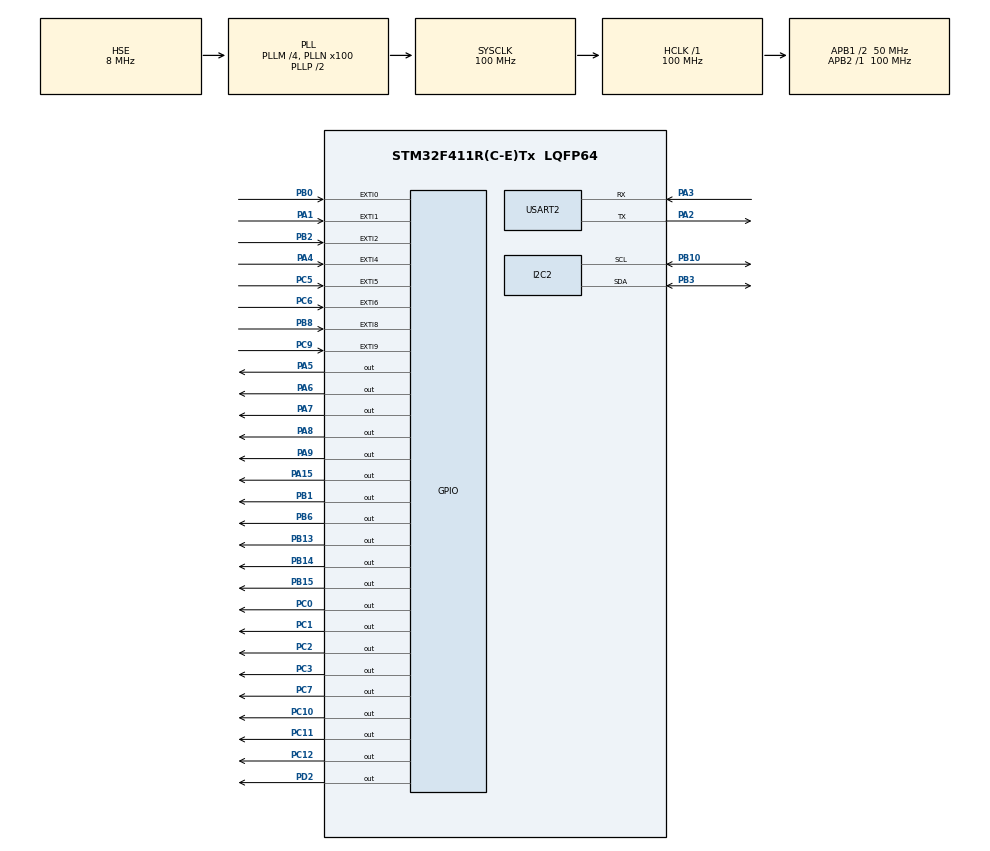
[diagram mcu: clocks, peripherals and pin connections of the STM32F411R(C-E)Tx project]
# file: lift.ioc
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Mcu.Family=STM32F4
Mcu.Name=STM32F411R(C-E)Tx
Mcu.Package=LQFP64
NVIC.EXTI0_IRQn=true\:0\:0\:false\:false\:true\:true\:true\:true
NVIC.EXTI1_IRQn=true\:0\:0\:false\:false\:true\:true\:true\:true
NVIC.EXTI2_IRQn=true\:0\:0\:false\:false\:true\:true\:true\:true
NVIC.EXTI4_IRQn=true\:0\:0\:false\:false\:true\:true\:true\:true
NVIC.EXTI9_5_IRQn=true\:0\:0\:false\:false\:true\:true\:true\:true
NVIC.PriorityGroup=NVIC_PRIORITYGROUP_4
NVIC.TIM3_IRQn=true\:0\:0\:false\:false\:true\:true\:true\:true
NVIC.USART2_IRQn=true\:0\:0\:false\:false\:true\:true\:true\:true
PA1.GPIO_ModeDefaultEXTI=GPIO_MODE_IT_RISING
PA1.Signal=GPXTI1
PA13.Mode=Serial_Wire
PA13.Signal=SYS_JTMS-SWDIO
PA14.Mode=Serial_Wire
PA14.Signal=SYS_JTCK-SWCLK
PA15.Signal=GPIO_Output
PA2.Mode=Asynchronous
PA2.Signal=USART2_TX
PA3.Mode=Asynchronous
PA3.Signal=USART2_RX
PA4.GPIO_ModeDefaultEXTI=GPIO_MODE_IT_RISING
PA4.Signal=GPXTI4
PA5.Signal=GPIO_Output
PA6.Signal=GPIO_Output
PA7.Signal=GPIO_Output
PA8.Signal=GPIO_Output
PA9.Signal=GPIO_Output
PB0.GPIO_ModeDefaultEXTI=GPIO_MODE_IT_RISING
PB0.Signal=GPXTI0
PB1.Signal=GPIO_Output
PB10.Mode=I2C
PB10.Signal=I2C2_SCL
PB13.Signal=GPIO_Output
PB14.Signal=GPIO_Output
PB15.Signal=GPIO_Output
PB2.Signal=GPXTI2
PB3.Mode=I2C
PB3.Signal=I2C2_SDA
PB6.Signal=GPIO_Output
PB8.GPIO_ModeDefaultEXTI=GPIO_MODE_IT_RISING_FALLING
PB8.GPIO_PuPd=GPIO_PULLUP
PB8.Signal=GPXTI8
PC0.Signal=GPIO_Output
PC1.Signal=GPIO_Output
PC10.Signal=GPIO_Output
PC11.Signal=GPIO_Output
PC12.Signal=GPIO_Output
PC2.Signal=GPIO_Output
PC3.Signal=GPIO_Output
PC5.GPIO_ModeDefaultEXTI=GPIO_MODE_IT_RISING_FALLING
PC5.GPIO_PuPd=GPIO_PULLUP
PC5.Signal=GPXTI5
PC6.GPIO_ModeDefaultEXTI=GPIO_MODE_IT_RISING_FALLING
PC6.GPIO_PuPd=GPIO_PULLUP
PC6.Signal=GPXTI6
PC7.Signal=GPIO_Output
PC9.GPIO_ModeDefaultEXTI=GPIO_MODE_IT_RISING_FALLING
PC9.GPIO_PuPd=GPIO_PULLUP
PC9.Signal=GPXTI9
PD2.Signal=GPIO_Output
PH0\ -\ OSC_IN.Mode=HSE-External-Oscillator
PH0\ -\ OSC_IN.Signal=RCC_OSC_IN
PH1\ -\ OSC_OUT.Mode=HSE-External-Oscillator
PH1\ -\ OSC_OUT.Signal=RCC_OSC_OUT
ProjectManager.HeapSize=0x200
ProjectManager.StackSize=0x400
ProjectManager.TargetToolchain=STM32CubeIDE
RCC.48MHZClocksFreq_Value=50000000
RCC.AHBFreq_Value=100000000
RCC.APB1CLKDivider=RCC_HCLK_DIV2
RCC.APB1Freq_Value=50000000
RCC.APB1TimFreq_Value=100000000
RCC.APB2Freq_Value=100000000
RCC.APB2TimFreq_Value=100000000
RCC.CortexFreq_Value=100000000
RCC.HCLKFreq_Value=100000000
RCC.HSE_VALUE=8000000
RCC.HSI_VALUE=16000000
RCC.LSE_VALUE=32768
RCC.PLLM=4
RCC.PLLN=100
RCC.PLLSourceVirtual=RCC_PLLSOURCE_HSE
RCC.SYSCLKFreq_VALUE=100000000
RCC.SYSCLKSource=RCC_SYSCLKSOURCE_PLLCLK
RCC.VCOOutputFreq_Value=200000000
TIM11.Period=65535
TIM11.Prescaler=99
TIM3.Period=999
TIM3.Prescaler=99
USART2.VirtualMode=VM_ASYNC
VP_TIM11_VS_ClockSourceINT.Mode=Enable_Timer
VP_TIM3_VS_ClockSourceINT.Mode=Internal
board=custom

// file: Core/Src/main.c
/* USER CODE BEGIN Header */
/**
  ******************************************************************************
  * @file           : main.c
  * @brief          : Main program body
  ******************************************************************************
  * @attention
  *
  * Copyright (c) 2025 STMicroelectronics.
  * All rights reserved.
  *
  * This software is licensed under terms that can be found in the LICENSE file
  * in the root directory of this software component.
  * If no LICENSE file comes with this software, it is provided AS-IS.
  *
  ******************************************************************************
  */
/* USER CODE END Header */
#include "main.h"
#include "i2c.h"
#include "tim.h"
#include "usart.h"
#include "gpio.h"

/* USER CODE BEGIN Includes */
#include "motor.h"
#include "7SEG.h"
#include <stdio.h>
#include <stdbool.h>
#include "i2c_lcd.h"
#include "btn.h"
#include "Ele_And_Door.h"
/* USER CODE END Includes */

/* USER CODE BEGIN PV */
// 전역 변수를 구조체로 통합하여 정의
volatile SystemStatus sysStatus = {
    .doorClosingStarted = false,
    .doorFullyOpened = false,
    .openingStarted = false,
    .doorHoldStartTime = 0,
    .doorOperationStartTime = 0,
    .leftSensorDetected = false,
    .rightSensorDetected = false,
    .targetFloor = 0
};

// 엘리베이터 상태
ElevatorStatus elevatorStatus = {
    .currentFloor = FLOOR_1,
    .state = IDLE
};
/* USER CODE END PV */

void SystemClock_Config(void);
/* USER CODE BEGIN PFP */
int _write(int file, char*p , int len)
{
  HAL_UART_Transmit(&huart2, (uint8_t *)p , len , 10);
  return len;
}

void moveElevatorTo(uint8_t floor);
void openDoors(void);
void closeDoors(void);

void HandleButtonPress(Button* btn);

/* USER CODE END PFP */

int main(void)
{

  /* MCU Configuration--------------------------------------------------------*/

  /* Reset of all peripherals, Initializes the Flash interface and the Systick. */
  HAL_Init();

  /* Configure the system clock */
  SystemClock_Config();

  /* Initialize all configured peripherals */
  MX_GPIO_Init();
  MX_USART2_UART_Init();
  MX_TIM11_Init();
  MX_TIM3_Init();
  MX_I2C2_Init();
  /* USER CODE BEGIN 2 */
  lcdInit();
  initMotor(&stepmotot1, GPIOC, GPIO_PIN_1, GPIOC, GPIO_PIN_0, GPIOC, GPIO_PIN_2, GPIOC, GPIO_PIN_3);
  initMotor(&stepmotot2, GPIOC, GPIO_PIN_11, GPIOD, GPIO_PIN_2, GPIOC, GPIO_PIN_12, GPIOA, GPIO_PIN_15);
  initMotor(&stepmotot3, GPIOB, GPIO_PIN_1, GPIOB, GPIO_PIN_15, GPIOB, GPIO_PIN_14, GPIOB, GPIO_PIN_13);

  HAL_TIM_Base_Start_IT(&htim3);
  /* USER CODE END 2 */

  /* Infinite loop */
  /* USER CODE BEGIN WHILE */
  while (1) {
        switch (elevatorStatus.state) {
          case IDLE:
            break;
          case MOVING:
            // 엘리베이터가 목표 층에 도달하면 문을 열도록 상태 변경
            if (stepmotot1.state == MOTOR_STOPPED)
            {
              elevatorStatus.state = OPEN_DOORS;  // 이동 완료 후 문 열기 상태로 변경
            }
            break;
          case OPEN_DOORS:
            openDoors();
            break;
          case CLOSE_DOORS:
            closeDoors();
            break;
          default:
            break;
        }
    /* USER CODE END WHILE */

  }
}

void SystemClock_Config(void)
{
  RCC_OscInitTypeDef RCC_OscInitStruct = {0};
  RCC_ClkInitTypeDef RCC_ClkInitStruct = {0};

  /** Configure the main internal regulator output voltage
  */
  __HAL_RCC_PWR_CLK_ENABLE();
  __HAL_PWR_VOLTAGESCALING_CONFIG(PWR_REGULATOR_VOLTAGE_SCALE1);

  /** Initializes the RCC Oscillators according to the specified parameters
  * in the RCC_OscInitTypeDef structure.
  */
  RCC_OscInitStruct.OscillatorType = RCC_OSCILLATORTYPE_HSE;
  RCC_OscInitStruct.HSEState = RCC_HSE_ON;
  RCC_OscInitStruct.PLL.PLLState = RCC_PLL_ON;
  RCC_OscInitStruct.PLL.PLLSource = RCC_PLLSOURCE_HSE;
  RCC_OscInitStruct.PLL.PLLM = 4;
  RCC_OscInitStruct.PLL.PLLN = 100;
  RCC_OscInitStruct.PLL.PLLP = RCC_PLLP_DIV2;
  RCC_OscInitStruct.PLL.PLLQ = 4;
  if (HAL_RCC_OscConfig(&RCC_OscInitStruct) != HAL_OK)
  {
    Error_Handler();
  }

  /** Initializes the CPU, AHB and APB buses clocks
  */
  RCC_ClkInitStruct.ClockType = RCC_CLOCKTYPE_HCLK|RCC_CLOCKTYPE_SYSCLK
                              |RCC_CLOCKTYPE_PCLK1|RCC_CLOCKTYPE_PCLK2;
  RCC_ClkInitStruct.SYSCLKSource = RCC_SYSCLKSOURCE_PLLCLK;
  RCC_ClkInitStruct.AHBCLKDivider = RCC_SYSCLK_DIV1;
  RCC_ClkInitStruct.APB1CLKDivider = RCC_HCLK_DIV2;
  RCC_ClkInitStruct.APB2CLKDivider = RCC_HCLK_DIV1;

  if (HAL_RCC_ClockConfig(&RCC_ClkInitStruct, FLASH_LATENCY_3) != HAL_OK)
  {
    Error_Handler();
  }
}

/* USER CODE BEGIN 4 */

void HAL_GPIO_EXTI_Callback(uint16_t GPIO_Pin) {
    switch(GPIO_Pin) {
        case GPIO_PIN_9:
            HandleButtonPress(&extBtn1);
            break;
        case GPIO_PIN_8:
            HandleButtonPress(&extBtn2);
            break;
        case GPIO_PIN_6:
            HandleButtonPress(&intBtn1);
            break;
        case GPIO_PIN_5:
            HandleButtonPress(&intBtn2);
            break;

        // 1층 포트 센서
        case GPIO_PIN_1:  // 1층 왼쪽 센서 (닫힘)
            if (elevatorStatus.currentFloor == FLOOR_1) {
                sysStatus.leftSensorDetected = true;
            }
            break;
        case GPIO_PIN_4:  // 1층 오른쪽 센서 (열림)
            if (elevatorStatus.currentFloor == FLOOR_1) {
                sysStatus.rightSensorDetected = true;
            }
            break;

        // 2층 포트 센서
        case GPIO_PIN_0:  // 2층 왼쪽 센서 (닫힘)
            if (elevatorStatus.currentFloor == FLOOR_2) {
                sysStatus.leftSensorDetected = true;
            }
            break;
        case GPIO_PIN_2:  // 2층 오른쪽 센서 (열림)
            if (elevatorStatus.currentFloor == FLOOR_2) {
                sysStatus.rightSensorDetected = true;
            }
            break;
    }
}

void HAL_TIM_PeriodElapsedCallback(TIM_HandleTypeDef *htim) {
  if (htim->Instance == TIM3) {
    if(stepmotot1.state == MOTOR_STOPPED)
    {
      switch(elevatorStatus.currentFloor)
      {
        case FLOOR_1:
          clearDisplay();
          display_1();

          break;
        case FLOOR_2:
          clearDisplay();
          display_2();

          break;
      }
    }
    __HAL_TIM_CLEAR_IT(htim, TIM_IT_UPDATE); // 인터럽트 플래그 클리어
  }
}

//void HAL_TIM_PeriodElapsedCallback(TIM_HandleTypeDef *htim)
//{
//    if (htim->Instance == TIM3) {  // 예시: TIM2 타이머가 1ms마다 호출
//        update_display();
//    }
//}

/* USER CODE END 4 */

void Error_Handler(void)
{
  __disable_irq();
  while (1)
  {
  }
}
